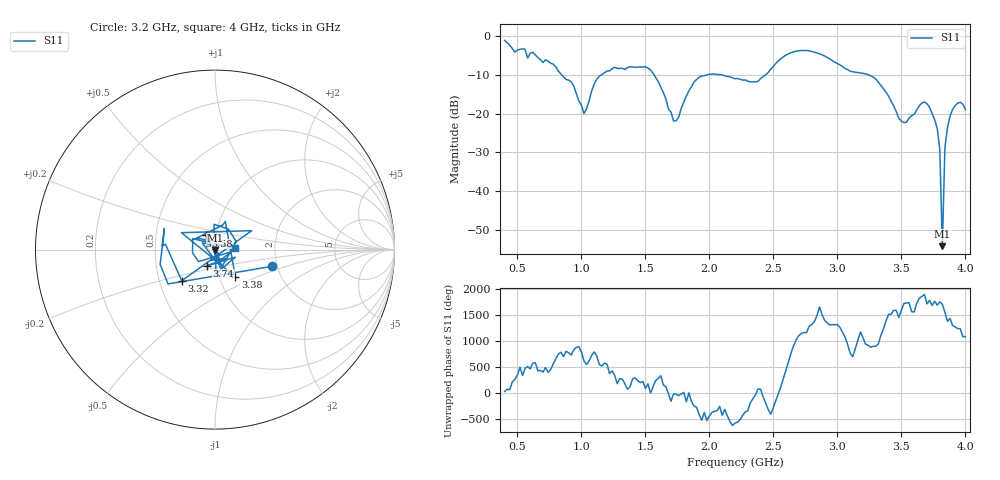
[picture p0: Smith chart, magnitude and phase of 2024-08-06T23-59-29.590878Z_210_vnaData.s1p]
!Created with skrf (http://scikit-rf.org).
# Hz S RI R 50.0
!freq ReS11 ImS11
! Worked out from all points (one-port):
!   181 points, 400 MHz to 4 GHz, reference 50 ohm
!   lowest |S11| = -54.1 dB at 3.82 GHz (marker M1), VSWR 1.00, Z = 50 - j0.196 ohm
!   |S11| at or under -10 dB: 1.567 GHz to 1.988 GHz (421.6 MHz wide, 23.7 % of centre); 2.088 GHz to 2.441 GHz (352.3 MHz wide, 15.6 % of centre); 3.24 GHz to end of sweep (the widest 3 of 4)
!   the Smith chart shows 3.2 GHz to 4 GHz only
!   S11 on the Smith chart (normalised r, x): 3.2 GHz: 1.87, -0.39; 3.32 GHz: 0.65, -0.24; 3.38 GHz: 1.19, -0.37; 3.58 GHz: 0.89, +0.14; 3.74 GHz: 0.90, -0.16; 4 GHz: 1.25, +0.02
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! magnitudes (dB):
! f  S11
! 400 MHz  -1.2
! 860 MHz  -10.6
! 940 MHz  -12.9
! 1.02 GHz  -20.0
! 1.12 GHz  -11.1
! 1.3 GHz  -8.4
! 1.54 GHz  -8.8
! 1.72 GHz  -21.9
! 1.76 GHz  -20.9
! 1.92 GHz  -10.7
! 2.2 GHz  -11.0
! 2.38 GHz  -11.7
! 2.66 GHz  -4.1
! 3.1 GHz  -9.1
! 3.2 GHz  -9.7
! 3.32 GHz  -11.9
! 3.38 GHz  -14.5
! 3.5 GHz  -22.0
! 3.56 GHz  -21.1
! 3.58 GHz  -20.6
! 3.68 GHz  -17.0
! 3.74 GHz  -20.0
! 3.8 GHz  -29.2
! 3.82 GHz  -54.1
! 3.84 GHz  -28.7
! 3.86 GHz  -23.6
! 3.94 GHz  -17.3
! 4 GHz  -19.0
